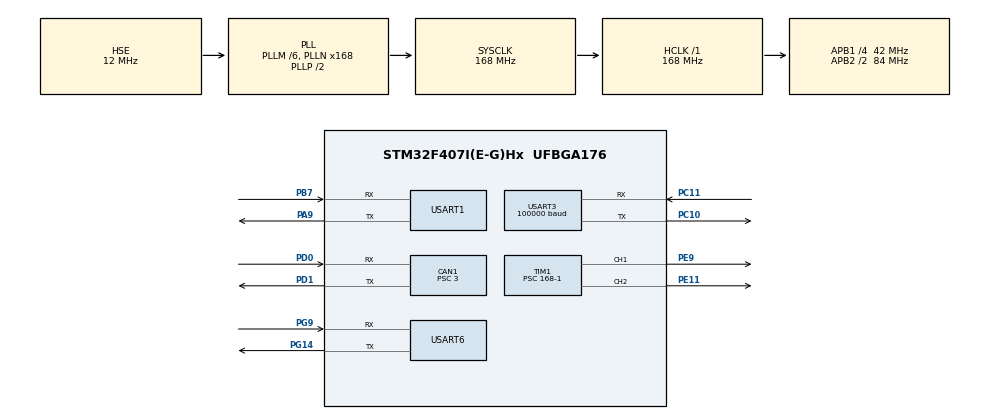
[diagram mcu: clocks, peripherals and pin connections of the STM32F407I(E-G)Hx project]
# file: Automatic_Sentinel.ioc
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CAN1.ABOM=ENABLE
CAN1.BS1=CAN_BS1_7TQ
CAN1.BS2=CAN_BS2_6TQ
CAN1.CalculateBaudRate=1000000
CAN1.CalculateTimeBit=999.99
CAN1.CalculateTimeQuantum=71.42857142857143
CAN1.Prescaler=3
CAN1.RFLM=ENABLE
Dma.Request0=USART3_RX
Dma.USART3_RX.0.Direction=DMA_PERIPH_TO_MEMORY
Dma.USART3_RX.0.FIFOMode=DMA_FIFOMODE_DISABLE
Dma.USART3_RX.0.Instance=DMA1_Stream1
Dma.USART3_RX.0.MemDataAlignment=DMA_MDATAALIGN_BYTE
Dma.USART3_RX.0.MemInc=DMA_MINC_ENABLE
Dma.USART3_RX.0.Mode=DMA_CIRCULAR
Dma.USART3_RX.0.PeriphDataAlignment=DMA_PDATAALIGN_BYTE
Dma.USART3_RX.0.PeriphInc=DMA_PINC_DISABLE
Dma.USART3_RX.0.Priority=DMA_PRIORITY_LOW
Mcu.Family=STM32F4
Mcu.Name=STM32F407I(E-G)Hx
Mcu.Package=UFBGA176
NVIC.CAN1_RX0_IRQn=true\:1\:0\:true\:false\:true\:true\:true
NVIC.DMA1_Stream1_IRQn=true\:0\:0\:false\:false\:true\:false\:true
NVIC.PriorityGroup=NVIC_PRIORITYGROUP_4
NVIC.TIM2_IRQn=true\:1\:0\:true\:false\:true\:true\:true
NVIC.TIM3_IRQn=true\:1\:0\:true\:false\:true\:true\:true
NVIC.TIM4_IRQn=true\:0\:0\:false\:false\:true\:true\:true
NVIC.USART1_IRQn=true\:0\:0\:false\:false\:true\:true\:true
NVIC.USART3_IRQn=true\:0\:0\:false\:false\:true\:true\:true
NVIC.USART6_IRQn=true\:0\:0\:false\:false\:true\:true\:true
PA13.Mode=Serial_Wire
PA13.Signal=SYS_JTMS-SWDIO
PA14.Mode=Serial_Wire
PA14.Signal=SYS_JTCK-SWCLK
PA9.Mode=Asynchronous
PA9.Signal=USART1_TX
PB7.Mode=Asynchronous
PB7.Signal=USART1_RX
PC10.Mode=Asynchronous
PC10.Signal=USART3_TX
PC11.Mode=Asynchronous
PC11.Signal=USART3_RX
PD0.Mode=CAN_Activate
PD0.Signal=CAN1_RX
PD1.Mode=CAN_Activate
PD1.Signal=CAN1_TX
PE11.Signal=S_TIM1_CH2
PE9.Signal=S_TIM1_CH1
PG14.Mode=Asynchronous
PG14.Signal=USART6_TX
PG9.Mode=Asynchronous
PG9.Signal=USART6_RX
PH0-OSC_IN.Mode=HSE-External-Oscillator
PH0-OSC_IN.Signal=RCC_OSC_IN
PH1-OSC_OUT.Mode=HSE-External-Oscillator
PH1-OSC_OUT.Signal=RCC_OSC_OUT
ProjectManager.HeapSize=0x200
ProjectManager.StackSize=0x400
ProjectManager.TargetToolchain=MDK-ARM V5.32
RCC.48MHZClocksFreq_Value=84000000
RCC.AHBFreq_Value=168000000
RCC.APB1CLKDivider=RCC_HCLK_DIV4
RCC.APB1Freq_Value=42000000
RCC.APB1TimFreq_Value=84000000
RCC.APB2CLKDivider=RCC_HCLK_DIV2
RCC.APB2Freq_Value=84000000
RCC.APB2TimFreq_Value=168000000
RCC.CortexFreq_Value=168000000
RCC.HCLKFreq_Value=168000000
RCC.HSE_VALUE=12000000
RCC.HSI_VALUE=16000000
RCC.LSE_VALUE=32768
RCC.PLLM=6
RCC.PLLN=168
RCC.PLLSourceVirtual=RCC_PLLSOURCE_HSE
RCC.SYSCLKFreq_VALUE=168000000
RCC.SYSCLKSource=RCC_SYSCLKSOURCE_PLLCLK
RCC.VCOOutputFreq_Value=336000000
SH.S_TIM1_CH1.0=TIM1_CH1,PWM Generation1 CH1
SH.S_TIM1_CH2.0=TIM1_CH2,PWM Generation2 CH2
TIM1.Channel-PWM\ Generation1\ CH1=TIM_CHANNEL_1
TIM1.Channel-PWM\ Generation2\ CH2=TIM_CHANNEL_2
TIM1.Period=2500-1
TIM1.Prescaler=168-1
TIM1.Pulse-PWM\ Generation1\ CH1=1000-1
TIM1.Pulse-PWM\ Generation2\ CH2=1000-1
TIM2.Period=2000-1
TIM2.Prescaler=84-1
TIM3.Period=5000-1
TIM3.Prescaler=84-1
TIM4.Period=1000-1
TIM4.Prescaler=84-1
USART1.VirtualMode=VM_ASYNC
USART3.BaudRate=100000
USART3.Parity=PARITY_EVEN
USART3.VirtualMode=VM_ASYNC
USART3.WordLength=WORDLENGTH_9B
USART6.VirtualMode=VM_ASYNC
VP_TIM1_VS_ClockSourceINT.Mode=Internal
VP_TIM2_VS_ClockSourceINT.Mode=Internal
VP_TIM3_VS_ClockSourceINT.Mode=Internal
VP_TIM4_VS_ClockSourceINT.Mode=Internal
board=custom

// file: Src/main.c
/* USER CODE BEGIN Header */
/**
  ******************************************************************************
  * @file           : main.c
  * @brief          : Main program body
  ******************************************************************************
  * @attention
  *
  * <h2><center>&copy; Copyright (c) 2022 STMicroelectronics.
  * All rights reserved.</center></h2>
  *
  * This software component is licensed by ST under BSD 3-Clause license,
  * the "License"; You may not use this file except in compliance with the
  * License. You may obtain a copy of the License at:
  *                        opensource.org/licenses/BSD-3-Clause
  *
  ******************************************************************************
  */
/* USER CODE END Header */
#include "main.h"

/* USER CODE BEGIN Includes */
#include "drv_can.h"
#include "drv_usart.h"
#include "DR16.h"
#include "oscilloscope.h"
#include "gimbals.h"
#include "PID.h"
#include "JY901S.h"
/* USER CODE END Includes */

CAN_HandleTypeDef hcan1;

TIM_HandleTypeDef htim1;
TIM_HandleTypeDef htim2;
TIM_HandleTypeDef htim3;
TIM_HandleTypeDef htim4;

UART_HandleTypeDef huart1;
UART_HandleTypeDef huart3;
UART_HandleTypeDef huart6;
DMA_HandleTypeDef hdma_usart3_rx;

void SystemClock_Config(void);
static void MX_GPIO_Init(void);
static void MX_CAN1_Init(void);
static void MX_USART1_UART_Init(void);
static void MX_TIM2_Init(void);
static void MX_TIM1_Init(void);
static void MX_DMA_Init(void);
static void MX_USART3_UART_Init(void);
static void MX_USART6_UART_Init(void);
static void MX_TIM3_Init(void);
static void MX_TIM4_Init(void);
/* USER CODE BEGIN PFP */
extern int16_t angle_exp,gyro_real,gyro_exp;

/* USER CODE END PFP */

int main(void)
{

  /* MCU Configuration--------------------------------------------------------*/

  /* Reset of all peripherals, Initializes the Flash interface and the Systick. */
  HAL_Init();

  /* Configure the system clock */
  SystemClock_Config();

  /* Initialize all configured peripherals */
  MX_GPIO_Init();
  MX_CAN1_Init();
  MX_USART1_UART_Init();
  MX_TIM2_Init();
  MX_TIM1_Init();
  MX_DMA_Init();
  MX_USART3_UART_Init();
  MX_USART6_UART_Init();
  MX_TIM3_Init();
  MX_TIM4_Init();
  /* USER CODE BEGIN 2 */
	yaw_exp = yaw_angle;
	pitch_exp = pitch_angle;
  /* USER CODE END 2 */

  /* Infinite loop */
while (1)
  {

    /* USER CODE BEGIN 3 */
		if(recognize)
		{
			OutData[0] = coordinates_y;//位置期望
			OutData[1] = pitch_gyro_error.Now_out; //速度期望
			OutData[2] = coordinates_x;
			OutData[3] = yaw_gyro_error.Now_out;//速度反馈

		}
		else
		{
			OutData[0] = 0;//位置期望
			OutData[1] = 0; //速度期望
			OutData[2] = 0;
			OutData[3] = 0;//速度反馈
		}

//		OutData[0] = coordinates_x;//位置期望
//		OutData[1] = yaw_speed*4;//位置期望
//		OutData[2] = Raw_yawData * 8.79;
//		OutData[3] = yaw_gyro_error.Now_out;  //速度期望

//		OutData[0] = coordinates_x;//位置期望
//		OutData[1] = yaw_speed;//位置期望
//		OutData[2] = Raw_yawData * 8.79;
//		OutData[3] = yaw_gyro_error.Now_out;  //速度期望
//

//			OutData[0] = Moto_6.speed;
//		  OutData[1] = Moto_6.angle;
//
//		OutData[0] = P_data;//位置期望
//  	OutData[1] = D_data;  //位置反馈
//		OutData[2] = -Mouse.x;
//		OutData[3] = gyro[2];

//
		OutPut_Data();
  }
  /* USER CODE END 3 */
}

void SystemClock_Config(void)
{
  RCC_OscInitTypeDef RCC_OscInitStruct = {0};
  RCC_ClkInitTypeDef RCC_ClkInitStruct = {0};

  /** Configure the main internal regulator output voltage
  */
  __HAL_RCC_PWR_CLK_ENABLE();
  __HAL_PWR_VOLTAGESCALING_CONFIG(PWR_REGULATOR_VOLTAGE_SCALE1);
  /** Initializes the RCC Oscillators according to the specified parameters
  * in the RCC_OscInitTypeDef structure.
  */
  RCC_OscInitStruct.OscillatorType = RCC_OSCILLATORTYPE_HSE;
  RCC_OscInitStruct.HSEState = RCC_HSE_ON;
  RCC_OscInitStruct.PLL.PLLState = RCC_PLL_ON;
  RCC_OscInitStruct.PLL.PLLSource = RCC_PLLSOURCE_HSE;
  RCC_OscInitStruct.PLL.PLLM = 6;
  RCC_OscInitStruct.PLL.PLLN = 168;
  RCC_OscInitStruct.PLL.PLLP = RCC_PLLP_DIV2;
  RCC_OscInitStruct.PLL.PLLQ = 4;
  if (HAL_RCC_OscConfig(&RCC_OscInitStruct) != HAL_OK)
  {
    Error_Handler();
  }
  /** Initializes the CPU, AHB and APB buses clocks
  */
  RCC_ClkInitStruct.ClockType = RCC_CLOCKTYPE_HCLK|RCC_CLOCKTYPE_SYSCLK
                              |RCC_CLOCKTYPE_PCLK1|RCC_CLOCKTYPE_PCLK2;
  RCC_ClkInitStruct.SYSCLKSource = RCC_SYSCLKSOURCE_PLLCLK;
  RCC_ClkInitStruct.AHBCLKDivider = RCC_SYSCLK_DIV1;
  RCC_ClkInitStruct.APB1CLKDivider = RCC_HCLK_DIV4;
  RCC_ClkInitStruct.APB2CLKDivider = RCC_HCLK_DIV2;

  if (HAL_RCC_ClockConfig(&RCC_ClkInitStruct, FLASH_LATENCY_5) != HAL_OK)
  {
    Error_Handler();
  }
}

static void MX_CAN1_Init(void)
{

  hcan1.Instance = CAN1;
  hcan1.Init.Prescaler = 3;
  hcan1.Init.Mode = CAN_MODE_NORMAL;
  hcan1.Init.SyncJumpWidth = CAN_SJW_1TQ;
  hcan1.Init.TimeSeg1 = CAN_BS1_7TQ;
  hcan1.Init.TimeSeg2 = CAN_BS2_6TQ;
  hcan1.Init.TimeTriggeredMode = DISABLE;
  hcan1.Init.AutoBusOff = ENABLE;
  hcan1.Init.AutoWakeUp = DISABLE;
  hcan1.Init.AutoRetransmission = DISABLE;
  hcan1.Init.ReceiveFifoLocked = ENABLE;
  hcan1.Init.TransmitFifoPriority = DISABLE;
  if (HAL_CAN_Init(&hcan1) != HAL_OK)
  {
    Error_Handler();
  }
  /* USER CODE BEGIN CAN1_Init 2 */
	Can_Init();
  /* USER CODE END CAN1_Init 2 */

}

static void MX_TIM1_Init(void)
{

  TIM_ClockConfigTypeDef sClockSourceConfig = {0};
  TIM_MasterConfigTypeDef sMasterConfig = {0};
  TIM_OC_InitTypeDef sConfigOC = {0};
  TIM_BreakDeadTimeConfigTypeDef sBreakDeadTimeConfig = {0};

  htim1.Instance = TIM1;
  htim1.Init.Prescaler = 168-1;
  htim1.Init.CounterMode = TIM_COUNTERMODE_UP;
  htim1.Init.Period = 2500-1;
  htim1.Init.ClockDivision = TIM_CLOCKDIVISION_DIV1;
  htim1.Init.RepetitionCounter = 0;
  htim1.Init.AutoReloadPreload = TIM_AUTORELOAD_PRELOAD_DISABLE;
  if (HAL_TIM_Base_Init(&htim1) != HAL_OK)
  {
    Error_Handler();
  }
  sClockSourceConfig.ClockSource = TIM_CLOCKSOURCE_INTERNAL;
  if (HAL_TIM_ConfigClockSource(&htim1, &sClockSourceConfig) != HAL_OK)
  {
    Error_Handler();
  }
  if (HAL_TIM_PWM_Init(&htim1) != HAL_OK)
  {
    Error_Handler();
  }
  sMasterConfig.MasterOutputTrigger = TIM_TRGO_RESET;
  sMasterConfig.MasterSlaveMode = TIM_MASTERSLAVEMODE_DISABLE;
  if (HAL_TIMEx_MasterConfigSynchronization(&htim1, &sMasterConfig) != HAL_OK)
  {
    Error_Handler();
  }
  sConfigOC.OCMode = TIM_OCMODE_PWM1;
  sConfigOC.Pulse = 1000-1;
  sConfigOC.OCPolarity = TIM_OCPOLARITY_HIGH;
  sConfigOC.OCNPolarity = TIM_OCNPOLARITY_HIGH;
  sConfigOC.OCFastMode = TIM_OCFAST_DISABLE;
  sConfigOC.OCIdleState = TIM_OCIDLESTATE_RESET;
  sConfigOC.OCNIdleState = TIM_OCNIDLESTATE_RESET;
  if (HAL_TIM_PWM_ConfigChannel(&htim1, &sConfigOC, TIM_CHANNEL_1) != HAL_OK)
  {
    Error_Handler();
  }
  if (HAL_TIM_PWM_ConfigChannel(&htim1, &sConfigOC, TIM_CHANNEL_2) != HAL_OK)
  {
    Error_Handler();
  }
  sBreakDeadTimeConfig.OffStateRunMode = TIM_OSSR_DISABLE;
  sBreakDeadTimeConfig.OffStateIDLEMode = TIM_OSSI_DISABLE;
  sBreakDeadTimeConfig.LockLevel = TIM_LOCKLEVEL_OFF;
  sBreakDeadTimeConfig.DeadTime = 0;
  sBreakDeadTimeConfig.BreakState = TIM_BREAK_DISABLE;
  sBreakDeadTimeConfig.BreakPolarity = TIM_BREAKPOLARITY_HIGH;
  sBreakDeadTimeConfig.AutomaticOutput = TIM_AUTOMATICOUTPUT_DISABLE;
  if (HAL_TIMEx_ConfigBreakDeadTime(&htim1, &sBreakDeadTimeConfig) != HAL_OK)
  {
    Error_Handler();
  }
  /* USER CODE BEGIN TIM1_Init 2 */
	HAL_TIM_PWM_Start(&htim1,TIM_CHANNEL_1);
	HAL_TIM_PWM_Start(&htim1,TIM_CHANNEL_2);
	HAL_Delay(500);

  /* USER CODE END TIM1_Init 2 */
  HAL_TIM_MspPostInit(&htim1);

}

static void MX_TIM2_Init(void)
{

  TIM_ClockConfigTypeDef sClockSourceConfig = {0};
  TIM_MasterConfigTypeDef sMasterConfig = {0};

  htim2.Instance = TIM2;
  htim2.Init.Prescaler = 84-1;
  htim2.Init.CounterMode = TIM_COUNTERMODE_UP;
  htim2.Init.Period = 2000-1;
  htim2.Init.ClockDivision = TIM_CLOCKDIVISION_DIV1;
  htim2.Init.AutoReloadPreload = TIM_AUTORELOAD_PRELOAD_DISABLE;
  if (HAL_TIM_Base_Init(&htim2) != HAL_OK)
  {
    Error_Handler();
  }
  sClockSourceConfig.ClockSource = TIM_CLOCKSOURCE_INTERNAL;
  if (HAL_TIM_ConfigClockSource(&htim2, &sClockSourceConfig) != HAL_OK)
  {
    Error_Handler();
  }
  sMasterConfig.MasterOutputTrigger = TIM_TRGO_RESET;
  sMasterConfig.MasterSlaveMode = TIM_MASTERSLAVEMODE_DISABLE;
  if (HAL_TIMEx_MasterConfigSynchronization(&htim2, &sMasterConfig) != HAL_OK)
  {
    Error_Handler();
  }
  /* USER CODE BEGIN TIM2_Init 2 */
	HAL_TIM_Base_Start_IT(&htim2);
  /* USER CODE END TIM2_Init 2 */

}

static void MX_TIM3_Init(void)
{

  TIM_ClockConfigTypeDef sClockSourceConfig = {0};
  TIM_MasterConfigTypeDef sMasterConfig = {0};

  htim3.Instance = TIM3;
  htim3.Init.Prescaler = 84-1;
  htim3.Init.CounterMode = TIM_COUNTERMODE_UP;
  htim3.Init.Period = 5000-1;
  htim3.Init.ClockDivision = TIM_CLOCKDIVISION_DIV1;
  htim3.Init.AutoReloadPreload = TIM_AUTORELOAD_PRELOAD_DISABLE;
  if (HAL_TIM_Base_Init(&htim3) != HAL_OK)
  {
    Error_Handler();
  }
  sClockSourceConfig.ClockSource = TIM_CLOCKSOURCE_INTERNAL;
  if (HAL_TIM_ConfigClockSource(&htim3, &sClockSourceConfig) != HAL_OK)
  {
    Error_Handler();
  }
  sMasterConfig.MasterOutputTrigger = TIM_TRGO_RESET;
  sMasterConfig.MasterSlaveMode = TIM_MASTERSLAVEMODE_DISABLE;
  if (HAL_TIMEx_MasterConfigSynchronization(&htim3, &sMasterConfig) != HAL_OK)
  {
    Error_Handler();
  }
  /* USER CODE BEGIN TIM3_Init 2 */
	HAL_TIM_Base_Start_IT(&htim3);
  /* USER CODE END TIM3_Init 2 */

}

static void MX_TIM4_Init(void)
{

  TIM_ClockConfigTypeDef sClockSourceConfig = {0};
  TIM_MasterConfigTypeDef sMasterConfig = {0};

  htim4.Instance = TIM4;
  htim4.Init.Prescaler = 84-1;
  htim4.Init.CounterMode = TIM_COUNTERMODE_UP;
  htim4.Init.Period = 1000-1;
  htim4.Init.ClockDivision = TIM_CLOCKDIVISION_DIV1;
  htim4.Init.AutoReloadPreload = TIM_AUTORELOAD_PRELOAD_DISABLE;
  if (HAL_TIM_Base_Init(&htim4) != HAL_OK)
  {
    Error_Handler();
  }
  sClockSourceConfig.ClockSource = TIM_CLOCKSOURCE_INTERNAL;
  if (HAL_TIM_ConfigClockSource(&htim4, &sClockSourceConfig) != HAL_OK)
  {
    Error_Handler();
  }
  sMasterConfig.MasterOutputTrigger = TIM_TRGO_RESET;
  sMasterConfig.MasterSlaveMode = TIM_MASTERSLAVEMODE_DISABLE;
  if (HAL_TIMEx_MasterConfigSynchronization(&htim4, &sMasterConfig) != HAL_OK)
  {
    Error_Handler();
  }
  /* USER CODE BEGIN TIM4_Init 2 */
	HAL_TIM_Base_Start_IT(&htim4);
  /* USER CODE END TIM4_Init 2 */

}

static void MX_USART1_UART_Init(void)
{

  huart1.Instance = USART1;
  huart1.Init.BaudRate = 115200;
  huart1.Init.WordLength = UART_WORDLENGTH_8B;
  huart1.Init.StopBits = UART_STOPBITS_1;
  huart1.Init.Parity = UART_PARITY_NONE;
  huart1.Init.Mode = UART_MODE_TX_RX;
  huart1.Init.HwFlowCtl = UART_HWCONTROL_NONE;
  huart1.Init.OverSampling = UART_OVERSAMPLING_16;
  if (HAL_UART_Init(&huart1) != HAL_OK)
  {
    Error_Handler();
  }
  /* USER CODE BEGIN USART1_Init 2 */
	HAL_UART_Receive_IT(&huart1,&uData,sizeof(uData));

  /* USER CODE END USART1_Init 2 */

}

static void MX_USART3_UART_Init(void)
{

  huart3.Instance = USART3;
  huart3.Init.BaudRate = 100000;
  huart3.Init.WordLength = UART_WORDLENGTH_9B;
  huart3.Init.StopBits = UART_STOPBITS_1;
  huart3.Init.Parity = UART_PARITY_EVEN;
  huart3.Init.Mode = UART_MODE_TX_RX;
  huart3.Init.HwFlowCtl = UART_HWCONTROL_NONE;
  huart3.Init.OverSampling = UART_OVERSAMPLING_16;
  if (HAL_UART_Init(&huart3) != HAL_OK)
  {
    Error_Handler();
  }
  /* USER CODE BEGIN USART3_Init 2 */
	RC_Init();
  /* USER CODE END USART3_Init 2 */

}

static void MX_USART6_UART_Init(void)
{

  huart6.Instance = USART6;
  huart6.Init.BaudRate = 115200;
  huart6.Init.WordLength = UART_WORDLENGTH_8B;
  huart6.Init.StopBits = UART_STOPBITS_1;
  huart6.Init.Parity = UART_PARITY_NONE;
  huart6.Init.Mode = UART_MODE_TX_RX;
  huart6.Init.HwFlowCtl = UART_HWCONTROL_NONE;
  huart6.Init.OverSampling = UART_OVERSAMPLING_16;
  if (HAL_UART_Init(&huart6) != HAL_OK)
  {
    Error_Handler();
  }

}

static void MX_DMA_Init(void)
{

  /* DMA controller clock enable */
  __HAL_RCC_DMA1_CLK_ENABLE();

  /* DMA interrupt init */
  /* DMA1_Stream1_IRQn interrupt configuration */
  HAL_NVIC_SetPriority(DMA1_Stream1_IRQn, 0, 0);
  HAL_NVIC_EnableIRQ(DMA1_Stream1_IRQn);

}

static void MX_GPIO_Init(void)
{

  /* GPIO Ports Clock Enable */
  __HAL_RCC_GPIOG_CLK_ENABLE();
  __HAL_RCC_GPIOA_CLK_ENABLE();
  __HAL_RCC_GPIOB_CLK_ENABLE();
  __HAL_RCC_GPIOD_CLK_ENABLE();
  __HAL_RCC_GPIOC_CLK_ENABLE();
  __HAL_RCC_GPIOH_CLK_ENABLE();
  __HAL_RCC_GPIOE_CLK_ENABLE();

}

void Error_Handler(void)
{
  __disable_irq();
  while (1)
  {
  }
}

/************************ (C) COPYRIGHT STMicroelectronics *****END OF FILE****/
